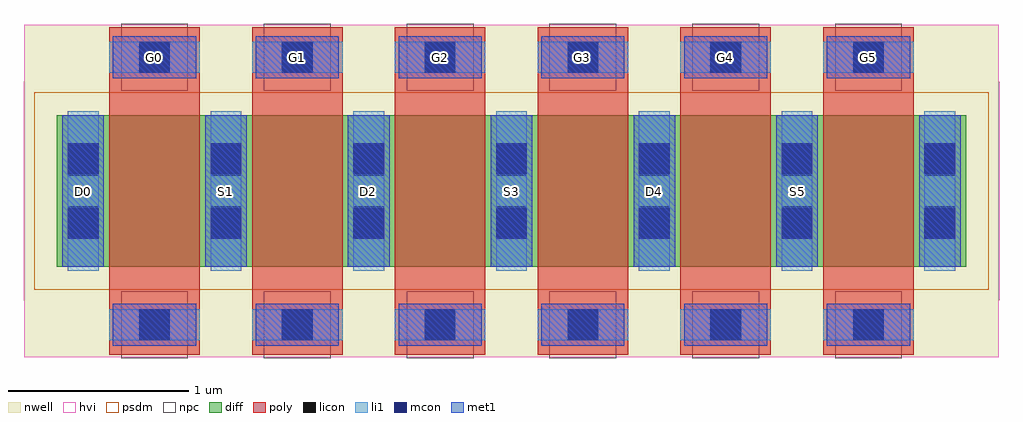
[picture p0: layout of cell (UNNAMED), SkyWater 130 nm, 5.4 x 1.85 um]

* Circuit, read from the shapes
.subckt (UNNAMED) D0 D2 D4 G0 G1 G2 G3 G4 G5 S1 S3 S5
XM1 S1 G0 D0 n1 sky130_fd_pr__pfet_g5v0d10v5 w=0.84 l=0.5
XM2 D2 G1 S1 n1 sky130_fd_pr__pfet_g5v0d10v5 w=0.84 l=0.5
XM3 S3 G2 D2 n1 sky130_fd_pr__pfet_g5v0d10v5 w=0.84 l=0.5
XM4 D4 G3 S3 n1 sky130_fd_pr__pfet_g5v0d10v5 w=0.84 l=0.5
XM5 S5 G4 D4 n1 sky130_fd_pr__pfet_g5v0d10v5 w=0.84 l=0.5
XM6 n2 G5 S5 n1 sky130_fd_pr__pfet_g5v0d10v5 w=0.84 l=0.5
.ends

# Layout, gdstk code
import gdstk
lib = gdstk.Library(unit=1e-6, precision=1e-09)
def R(c, l, rs):  # rectangles x0, y0, x1, y1
    for r in rs: c.add(gdstk.rectangle(r[:2], r[2:], *l))
def A(c, l, x, y, w, h, nx, ny, dx, dy):  # array of equal rectangles
    R(c, l, [(x+i*dx, y+j*dy, x+i*dx+w, y+j*dy+h) for i in range(nx) for j in range(ny)])
nwell = (64, 20)
diff = (65, 20)
poly = (66, 20)
licon = (66, 44)
li1 = (67, 20)
mcon = (67, 44)
met1 = (68, 20)
hvi = (75, 20)
psdm = (94, 20)
npc = (95, 20)

c__unnamed_ = lib.new_cell('(UNNAMED)')
R(c__unnamed_, nwell, [(-2.695,-0.92,2.695,0.92)])
R(c__unnamed_, diff, [(-2.515,-0.42,2.515,0.42)])
A(c__unnamed_, poly, -2.225, -0.905, 0.5, 1.81, 6, 1, 0.79, 0)
A(c__unnamed_, licon, -2.06, -0.825, 0.17, 0.17, 6, 2, 0.79, 1.48)
A(c__unnamed_, licon, -2.455, -0.255, 0.17, 0.17, 7, 2, 0.79, 0.34)
A(c__unnamed_, li1, -2.225, -0.825, 0.5, 0.17, 6, 2, 0.79, 1.48)
A(c__unnamed_, li1, -2.455, -0.44, 0.17, 0.88, 7, 1, 0.79, 0)
A(c__unnamed_, mcon, -2.06, -0.825, 0.17, 0.17, 6, 2, 0.79, 1.48)
A(c__unnamed_, mcon, -2.455, -0.265, 0.17, 0.17, 7, 2, 0.79, 0.36)
A(c__unnamed_, met1, -2.205, -0.855, 0.46, 0.23, 6, 2, 0.79, 1.48)
A(c__unnamed_, met1, -2.485, -0.42, 0.23, 0.84, 7, 1, 0.79, 0)
R(c__unnamed_, hvi, [(-2.695,-0.92,2.695,-0.605), (-2.7,-0.605,2.7,0.605), (-2.695,0.605,2.695,0.92)])
R(c__unnamed_, psdm, [(-2.64,-0.545,2.64,0.545)])
A(c__unnamed_, npc, -2.16, -0.925, 0.37, 0.37, 6, 2, 0.79, 1.48)
c__unnamed_.add(gdstk.Label('D0', (-2.37,0), layer=67, texttype=5))
c__unnamed_.add(gdstk.Label('G0', (-1.975,0.74), layer=67, texttype=5))
c__unnamed_.add(gdstk.Label('S1', (-1.58,0), layer=67, texttype=5))
c__unnamed_.add(gdstk.Label('G1', (-1.185,0.74), layer=67, texttype=5))
c__unnamed_.add(gdstk.Label('D2', (-0.79,0), layer=67, texttype=5))
c__unnamed_.add(gdstk.Label('G2', (-0.395,0.74), layer=67, texttype=5))
c__unnamed_.add(gdstk.Label('S3', (0,0), layer=67, texttype=5))
c__unnamed_.add(gdstk.Label('G3', (0.395,0.74), layer=67, texttype=5))
c__unnamed_.add(gdstk.Label('D4', (0.79,0), layer=67, texttype=5))
c__unnamed_.add(gdstk.Label('G4', (1.185,0.74), layer=67, texttype=5))
c__unnamed_.add(gdstk.Label('S5', (1.58,0), layer=67, texttype=5))
c__unnamed_.add(gdstk.Label('G5', (1.975,0.74), layer=67, texttype=5))

lib.write_gds('_UNNAMED_.gds')
